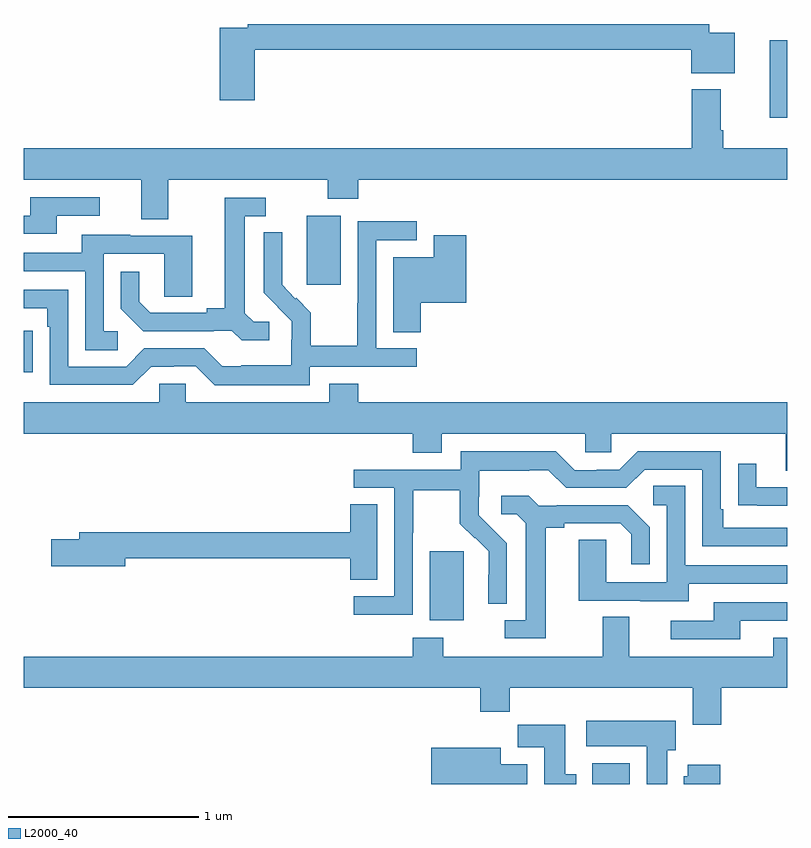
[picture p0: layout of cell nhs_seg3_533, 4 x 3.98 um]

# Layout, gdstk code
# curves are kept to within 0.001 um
import gdstk
lib = gdstk.Library(unit=1e-6, precision=1e-09)
def R(c, l, rs):  # rectangles x0, y0, x1, y1
    for r in rs: c.add(gdstk.rectangle(r[:2], r[2:], *l))
def P(c, l, *ps):  # polygons
    for p in ps: c.add(gdstk.Polygon(p, *l))
L2000_40 = (2000, 40)

nhs_seg3_533 = lib.new_cell('nhs_seg3_533')
R(nhs_seg3_533, L2000_40, [(139.979,712.4,140.176,712.51), (139.127,713.258,139.306,713.619), (137,714.558,137.045,714.776), (138.482,715.017,138.661,715.378), (140.909,715.893,141,716.299)])
P(nhs_seg3_533, L2000_40, [(138.209,716.248),(140.498,716.248),(140.498,716.126),(140.725,716.126),(140.725,716.338),(140.592,716.338),(140.592,716.384),(138.172,716.384),(138.172,716.364),(138.026,716.364),(138.026,715.983),(138.209,715.983)],
  [(137.755,715.568),(138.592,715.568),(138.592,715.469),(138.752,715.469),(138.752,715.568),(141,715.568),(141,715.732),(140.666,715.732),(140.666,715.828),(140.653,715.828),(140.653,716.041),(140.501,716.041),(140.501,715.732),(137,715.732),(137,715.568),(137.615,715.568),(137.615,715.36),(137.755,715.36)],
  [(137.173,715.38),(137.398,715.38),(137.398,715.476),(137.033,715.476),(137.033,715.38),(137,715.38),(137,715.284),(137.173,715.284)],
  [(138.286,714.822),(138.204,714.822),(138.157,714.869),(138.157,715.377),(138.268,715.377),(138.268,715.473),(138.053,715.473),(138.053,714.893),(137.957,714.893),(137.957,714.87),(137.662,714.87),(137.605,714.927),(137.605,715.084),(137.508,715.084),(137.508,714.89),(137.624,714.774),(137.996,714.774),(137.996,714.777),(138.09,714.777),(138.142,714.725),(138.286,714.725)],
  [(138.498,714.588),(139.06,714.588),(139.06,714.684),(138.846,714.684),(138.846,715.251),(139.06,715.251),(139.06,715.35),(138.75,715.35),(138.75,714.92),(138.748,714.92),(138.748,714.697),(138.503,714.697),(138.503,714.871),(138.426,714.948),(138.423,714.945),(138.353,715.016),(138.354,715.292),(138.258,715.292),(138.258,714.974),(138.404,714.826),(138.404,714.729),(138.402,714.729),(138.402,714.595),(138.139,714.595),(138.139,714.591),(138.039,714.591),(137.946,714.684),(137.631,714.684),(137.535,714.588),(137.232,714.588),(137.232,714.99),(137,714.99),(137,714.894),(137.123,714.894),(137.123,714.797),(137.136,714.797),(137.136,714.492),(137.571,714.492),(137.667,714.588),(137.786,714.588),(137.786,714.591),(137.901,714.591),(138.001,714.491),(138.498,714.491)],
  [(137.491,714.774),(137.418,714.774),(137.418,715.179),(137.736,715.179),(137.736,714.955),(137.881,714.955),(137.881,715.275),(137.557,715.275),(137.557,715.279),(137.303,715.279),(137.303,715.185),(137,715.185),(137,715.089),(137.322,715.089),(137.322,714.673),(137.491,714.673)],
  [(139.079,714.923),(139.319,714.923),(139.319,715.276),(139.148,715.276),(139.148,715.162),(138.935,715.162),(138.935,714.769),(139.079,714.769)],
  [(141,714.4),(138.752,714.4),(138.752,714.499),(138.599,714.499),(138.599,714.4),(137.847,714.4),(137.847,714.498),(137.709,714.498),(137.709,714.4),(137,714.4),(137,714.236),(139.037,714.236),(139.037,714.137),(139.189,714.137),(139.189,714.236),(139.941,714.236),(139.941,714.138),(140.079,714.138),(140.079,714.236),(140.993,714.236),(140.993,714.042),(141,714.042)],
  [(139.038,713.716),(139.041,713.716),(139.041,713.94),(139.285,713.94),(139.285,713.765),(139.362,713.688),(139.365,713.691),(139.436,713.621),(139.436,713.498),(139.434,713.498),(139.434,713.344),(139.53,713.344),(139.53,713.662),(139.384,713.81),(139.384,713.907),(139.386,713.907),(139.386,714.041),(139.649,714.041),(139.649,714.045),(139.749,714.045),(139.842,713.952),(140.157,713.952),(140.253,714.048),(140.556,714.048),(140.556,713.646),(141,713.646),(141,713.742),(140.665,713.742),(140.665,713.839),(140.652,713.839),(140.652,714.144),(140.217,714.144),(140.121,714.048),(140.003,714.048),(140.003,714.045),(139.887,714.045),(139.787,714.145),(139.29,714.145),(139.29,714.048),(138.729,714.048),(138.729,713.952),(138.942,713.952),(138.942,713.385),(138.729,713.385),(138.729,713.287),(139.038,713.287)],
  [(141,713.955),(140.839,713.955),(140.839,714.079),(140.743,714.079),(140.743,713.86),(140.845,713.86),(140.845,713.859),(141,713.859)],
  [(140.485,713.451),(141,713.451),(141,713.547),(140.466,713.547),(140.466,713.963),(140.298,713.963),(140.298,713.862),(140.37,713.862),(140.37,713.457),(140.052,713.457),(140.052,713.681),(139.907,713.681),(139.907,713.361),(140.231,713.361),(140.231,713.357),(140.485,713.357)],
  [(139.735,713.744),(139.831,713.744),(139.831,713.766),(140.126,713.766),(140.183,713.709),(140.183,713.553),(140.28,713.553),(140.28,713.746),(140.164,713.862),(139.792,713.862),(139.792,713.859),(139.698,713.859),(139.646,713.911),(139.503,713.911),(139.503,713.814),(139.584,713.814),(139.631,713.767),(139.631,713.259),(139.521,713.259),(139.521,713.163),(139.735,713.163)],
  [(138.853,713.867),(138.71,713.867),(138.71,713.72),(137.291,713.72),(137.291,713.684),(137.142,713.684),(137.142,713.542),(137.53,713.542),(137.53,713.584),(138.71,713.584),(138.71,713.47),(138.853,713.47)],
  [(140.755,713.256),(141,713.256),(141,713.352),(140.615,713.352),(140.615,713.256),(140.391,713.256),(140.391,713.16),(140.755,713.16)],
  [(140.655,712.904),(141,712.904),(141,713.167),(140.927,713.167),(140.927,713.068),(140.173,713.068),(140.173,713.276),(140.033,713.276),(140.033,713.068),(139.197,713.068),(139.197,713.167),(139.037,713.167),(139.037,713.068),(137,713.068),(137,712.904),(139.391,712.904),(139.391,712.78),(139.547,712.78),(139.547,712.904),(140.507,712.904),(140.507,712.71),(140.655,712.71)],
  [(140.371,712.578),(140.416,712.578),(140.416,712.732),(139.947,712.732),(139.947,712.598),(140.264,712.598),(140.264,712.4),(140.371,712.4)],
  [(139.894,712.452),(139.837,712.452),(139.837,712.711),(139.588,712.711),(139.588,712.592),(139.727,712.592),(139.727,712.4),(139.894,712.4)],
  [(139.639,712.504),(139.498,712.504),(139.498,712.591),(139.136,712.591),(139.136,712.4),(139.639,712.4)],
  [(140.651,712.501),(140.48,712.501),(140.48,712.44),(140.459,712.44),(140.459,712.4),(140.651,712.4)])

lib.write_gds('nhs_seg3_533.gds')
